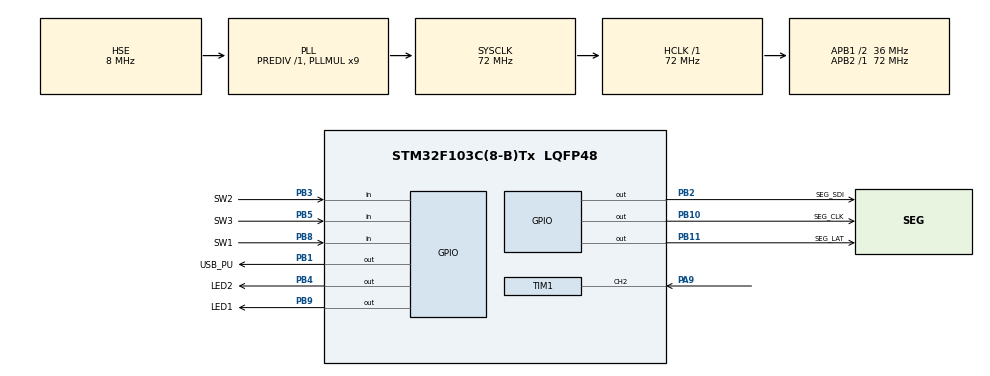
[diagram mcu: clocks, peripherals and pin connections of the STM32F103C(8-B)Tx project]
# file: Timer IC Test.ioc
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Mcu.Family=STM32F1
Mcu.Name=STM32F103C(8-B)Tx
Mcu.Package=LQFP48
NVIC.PriorityGroup=NVIC_PRIORITYGROUP_4
NVIC.TIM1_CC_IRQn=true\:0\:0\:false\:false\:true\:true\:true
NVIC.TIM2_IRQn=true\:0\:0\:false\:false\:true\:true\:true
PA0-WKUP.GPIO_Label=POT1
PA0-WKUP.Signal=ADCx_IN0
PA1.GPIO_Label=POT2
PA1.Signal=ADCx_IN1
PA10.GPIO_Label=RGB_DI
PA10.Signal=S_TIM1_CH3
PA11.Signal=USB_DM
PA13.GPIO_Label=SWDIO
PA13.Mode=Serial_Wire
PA13.Signal=SYS_JTMS-SWDIO
PA14.GPIO_Label=SWCLK
PA14.Mode=Serial_Wire
PA14.Signal=SYS_JTCK-SWCLK
PA15.GPIO_Label=BUZ
PA15.Signal=S_TIM2_CH1_ETR
PA2.GPIO_Label=TX2
PA2.Signal=USART2_TX
PA3.GPIO_Label=RX2
PA3.Signal=USART2_RX
PA4.GPIO_Label=POT3
PA4.Signal=ADCx_IN4
PA5.GPIO_Label=TEMP
PA5.Signal=ADCx_IN5
PA6.GPIO_Label=PWM_R
PA6.Signal=S_TIM3_CH1
PA7.GPIO_Label=PWM_G
PA7.Signal=S_TIM3_CH2
PA8.GPIO_Label=PWM_P
PA8.Signal=S_TIM1_CH1
PA9.Signal=S_TIM1_CH2
PB0.GPIO_Label=PWM_B
PB0.Signal=S_TIM3_CH3
PB1.GPIO_Label=USB_PU
PB1.GPIO_Speed=GPIO_SPEED_FREQ_HIGH
PB1.PinState=GPIO_PIN_RESET
PB1.Signal=GPIO_Output
PB10.GPIO_Label=SEG_CLK
PB10.GPIO_ModeDefaultOutputPP=GPIO_MODE_OUTPUT_OD
PB10.GPIO_PuPd=GPIO_NOPULL
PB10.GPIO_Speed=GPIO_SPEED_FREQ_HIGH
PB10.PinState=GPIO_PIN_RESET
PB10.Signal=GPIO_Output
PB11.GPIO_Label=SEG_LAT
PB11.GPIO_ModeDefaultOutputPP=GPIO_MODE_OUTPUT_OD
PB11.GPIO_PuPd=GPIO_NOPULL
PB11.GPIO_Speed=GPIO_SPEED_FREQ_HIGH
PB11.PinState=GPIO_PIN_RESET
PB11.Signal=GPIO_Output
PB13.GPIO_Label=PWM_N
PB13.Signal=TIM1_CH1N
PB2.GPIO_Label=SEG_SDI
PB2.GPIO_ModeDefaultOutputPP=GPIO_MODE_OUTPUT_OD
PB2.GPIO_PuPd=GPIO_NOPULL
PB2.GPIO_Speed=GPIO_SPEED_FREQ_HIGH
PB2.PinState=GPIO_PIN_RESET
PB2.Signal=GPIO_Output
PB3.GPIO_Label=SW2
PB3.Signal=GPIO_Input
PB4.GPIO_Label=LED2
PB4.GPIO_Speed=GPIO_SPEED_FREQ_HIGH
PB4.PinState=GPIO_PIN_RESET
PB4.Signal=GPIO_Output
PB5.GPIO_Label=SW3
PB5.Signal=GPIO_Input
PB6.GPIO_Label=ROT_A
PB6.Signal=S_TIM4_CH1
PB7.GPIO_Label=ROT_B
PB7.Signal=S_TIM4_CH2
PB8.GPIO_Label=SW1
PB8.Signal=GPIO_Input
PB9.GPIO_Label=LED1
PB9.GPIO_Speed=GPIO_SPEED_FREQ_HIGH
PB9.PinState=GPIO_PIN_RESET
PB9.Signal=GPIO_Output
PD0-OSC_IN.GPIO_Label=OSC_IN
PD0-OSC_IN.Mode=HSE-External-Oscillator
PD0-OSC_IN.Signal=RCC_OSC_IN
PD1-OSC_OUT.GPIO_Label=OSC_OUT
PD1-OSC_OUT.Mode=HSE-External-Oscillator
PD1-OSC_OUT.Signal=RCC_OSC_OUT
ProjectManager.HeapSize=0x200
ProjectManager.StackSize=0x400
ProjectManager.TargetToolchain=MDK-ARM V5.27
RCC.ADCPresc=RCC_ADCPCLK2_DIV6
RCC.AHBFreq_Value=72000000
RCC.APB1CLKDivider=RCC_HCLK_DIV2
RCC.APB1Freq_Value=36000000
RCC.APB1TimFreq_Value=72000000
RCC.APB2Freq_Value=72000000
RCC.APB2TimFreq_Value=72000000
RCC.HCLKFreq_Value=72000000
RCC.PLLMUL=RCC_PLL_MUL9
RCC.PLLSourceVirtual=RCC_PLLSOURCE_HSE
RCC.SYSCLKFreq_VALUE=72000000
RCC.SYSCLKSource=RCC_SYSCLKSOURCE_PLLCLK
RCC.USBFreq_Value=48000000
RCC.USBPrescaler=RCC_USBCLKSOURCE_PLL_DIV1_5
SH.ADCx_IN0.0=ADC1_IN0
SH.ADCx_IN1.0=ADC1_IN1
SH.ADCx_IN4.0=ADC1_IN4
SH.ADCx_IN5.0=ADC1_IN5
SH.S_TIM1_CH1.0=TIM1_CH1
SH.S_TIM1_CH2.0=TIM1_CH2,Input_Capture2_from_TI2
SH.S_TIM1_CH3.0=TIM1_CH3
SH.S_TIM2_CH1_ETR.0=TIM2_CH1
SH.S_TIM3_CH1.0=TIM3_CH1
SH.S_TIM3_CH2.0=TIM3_CH2
SH.S_TIM3_CH3.0=TIM3_CH3
SH.S_TIM4_CH1.0=TIM4_CH1
SH.S_TIM4_CH2.0=TIM4_CH2
TIM1.Channel-Input_Capture2_from_TI2=TIM_CHANNEL_2
TIM1.Prescaler=2000-1
TIM2.Period=750-1
TIM2.Prescaler=24000-1
VP_TIM1_VS_ClockSourceINT.Mode=Internal
VP_TIM2_VS_ClockSourceINT.Mode=Internal
board=custom

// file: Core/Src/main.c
/* USER CODE BEGIN Header */
/**
  ******************************************************************************
  * @file           : main.c
  * @brief          : Main program body
  ******************************************************************************
  * @attention
  *
  * Copyright (c) 2022 STMicroelectronics.
  * All rights reserved.
  *
  * This software is licensed under terms that can be found in the LICENSE file
  * in the root directory of this software component.
  * If no LICENSE file comes with this software, it is provided AS-IS.
  *
  ******************************************************************************
  */
/* USER CODE END Header */
#include "main.h"
#include "tim.h"
#include "gpio.h"

void SystemClock_Config(void);

/* USER CODE BEGIN 0 */

volatile uint8_t capture_finished = 0;
volatile uint8_t state = 0;
volatile uint16_t ccr_value[2];

void HAL_TIM_PeriodElapsedCallback(TIM_HandleTypeDef *htim)
{
	// This callback is automatically called by the HAL on the UEV event
	if(htim->Instance == TIM2)
	{
		HAL_GPIO_TogglePin(LED2_GPIO_Port, LED2_Pin);
	}
}

void HAL_TIM_IC_CaptureCallback(TIM_HandleTypeDef *htim)
{
	if(htim->Instance == TIM1)
	{
		if(state == 0)
		{
			ccr_value[state] = TIM1->CCR2;
			state = 1;
		}
		else
		{
			ccr_value[state] = TIM1->CCR2;
			state = 0;
			capture_finished = 1;
		}
	}
}
/* USER CODE END 0 */

int main(void)
{
  /* USER CODE BEGIN 1 */

	float diff, frequency;
	char msg[30];

  /* USER CODE END 1 */

  /* MCU Configuration--------------------------------------------------------*/

  /* Reset of all peripherals, Initializes the Flash interface and the Systick. */
  HAL_Init();

  /* Configure the system clock */
  SystemClock_Config();

  /* Initialize all configured peripherals */
  MX_GPIO_Init();
  MX_TIM1_Init();
  MX_TIM2_Init();
  /* USER CODE BEGIN 2 */

	HAL_TIM_Base_Start_IT(&htim2);
	HAL_TIM_IC_Start_IT(&htim1, TIM_CHANNEL_2);

  /* USER CODE END 2 */

  /* Infinite loop */
  while (1)
  {

    /* USER CODE BEGIN 3 */
		while (capture_finished == 0);

		if (ccr_value[1] >= ccr_value[0])
		{
			diff = ccr_value[1] - ccr_value[0];
		}
		else
		{
			diff = (htim1.Instance->ARR - ccr_value[0]) + ccr_value[1];
		}
		frequency = (HAL_RCC_GetPCLK1Freq() * 2) / (htim1.Instance->PSC + 1);
		frequency = (float) frequency / diff;

		sprintf(msg, "Input frequency: %.3f\r\n", frequency);
		capture_finished = 0;
	}
  /* USER CODE END 3 */
}

void SystemClock_Config(void)
{
  RCC_OscInitTypeDef RCC_OscInitStruct = {0};
  RCC_ClkInitTypeDef RCC_ClkInitStruct = {0};

  /** Initializes the RCC Oscillators according to the specified parameters
  * in the RCC_OscInitTypeDef structure.
  */
  RCC_OscInitStruct.OscillatorType = RCC_OSCILLATORTYPE_HSE;
  RCC_OscInitStruct.HSEState = RCC_HSE_ON;
  RCC_OscInitStruct.HSEPredivValue = RCC_HSE_PREDIV_DIV1;
  RCC_OscInitStruct.HSIState = RCC_HSI_ON;
  RCC_OscInitStruct.PLL.PLLState = RCC_PLL_ON;
  RCC_OscInitStruct.PLL.PLLSource = RCC_PLLSOURCE_HSE;
  RCC_OscInitStruct.PLL.PLLMUL = RCC_PLL_MUL9;
  if (HAL_RCC_OscConfig(&RCC_OscInitStruct) != HAL_OK)
  {
    Error_Handler();
  }
  /** Initializes the CPU, AHB and APB buses clocks
  */
  RCC_ClkInitStruct.ClockType = RCC_CLOCKTYPE_HCLK|RCC_CLOCKTYPE_SYSCLK
                              |RCC_CLOCKTYPE_PCLK1|RCC_CLOCKTYPE_PCLK2;
  RCC_ClkInitStruct.SYSCLKSource = RCC_SYSCLKSOURCE_PLLCLK;
  RCC_ClkInitStruct.AHBCLKDivider = RCC_SYSCLK_DIV1;
  RCC_ClkInitStruct.APB1CLKDivider = RCC_HCLK_DIV2;
  RCC_ClkInitStruct.APB2CLKDivider = RCC_HCLK_DIV1;

  if (HAL_RCC_ClockConfig(&RCC_ClkInitStruct, FLASH_LATENCY_2) != HAL_OK)
  {
    Error_Handler();
  }
}

void Error_Handler(void)
{
  __disable_irq();
  while (1)
  {
  }
}
